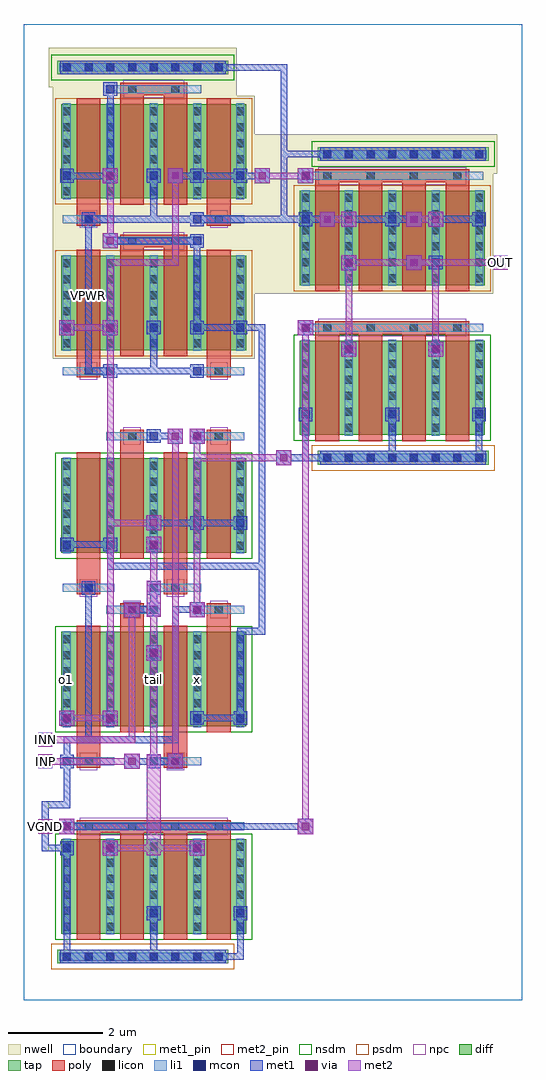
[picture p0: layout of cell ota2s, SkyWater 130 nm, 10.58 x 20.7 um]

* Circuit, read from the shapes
.subckt ota2s INN INP OUT VBN VGND VPWR o1 tail x
XM1 tail VBN VGND VGND sky130_fd_pr__nfet_01v8 w=2 l=0.5 m=4
XM2 o1 VGND o1 VGND sky130_fd_pr__nfet_01v8 w=2 l=0.5 m=2
XM3 x VGND x VGND sky130_fd_pr__nfet_01v8 w=2 l=0.5 m=2
XM4 tail INN o1 VGND sky130_fd_pr__nfet_01v8 w=2 l=0.5 m=2
XM5 tail INP x VGND sky130_fd_pr__nfet_01v8 w=2 l=0.5 m=2
XM6 OUT VBN VGND VGND sky130_fd_pr__nfet_01v8 w=2 l=0.5 m=4
XM7 o1 VPWR o1 VPWR sky130_fd_pr__pfet_01v8 w=2 l=0.5 m=2
XM8 x VPWR x VPWR sky130_fd_pr__pfet_01v8 w=2 l=0.5 m=2
XM9 VPWR x o1 VPWR sky130_fd_pr__pfet_01v8 w=2 l=0.5 m=2
XM10 VPWR x x VPWR sky130_fd_pr__pfet_01v8 w=2 l=0.5 m=2
XM11 OUT o1 VPWR VPWR sky130_fd_pr__pfet_01v8 w=2 l=0.5 m=4
.ends

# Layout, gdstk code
import gdstk
lib = gdstk.Library(unit=1e-6, precision=1e-09)
def R(c, l, rs):  # rectangles x0, y0, x1, y1
    for r in rs: c.add(gdstk.rectangle(r[:2], r[2:], *l))
def A(c, l, x, y, w, h, nx, ny, dx, dy):  # array of equal rectangles
    R(c, l, [(x+i*dx, y+j*dy, x+i*dx+w, y+j*dy+h) for i in range(nx) for j in range(ny)])
nwell = (64, 20)
diff = (65, 20)
tap = (65, 44)
poly = (66, 20)
licon = (66, 44)
li1 = (67, 20)
mcon = (67, 44)
met1_pin = (68, 16)
met1 = (68, 20)
via = (68, 44)
met2_pin = (69, 16)
met2 = (69, 20)
nsdm = (93, 44)
psdm = (94, 20)
npc = (95, 20)
boundary = (235, 4)

ota2s = lib.new_cell('ota2s')
R(ota2s, nwell, [(0.615,13.6,4.905,14.98), (0.615,14.98,9.965,17.52), (0.615,17.52,10.045,18.36), (0.615,18.36,4.905,19.18), (0.615,19.18,4.525,19.36), (0.535,19.36,4.525,20.2)])
R(ota2s, diff, [(0.795,1.405,4.725,3.405), (0.795,5.805,4.725,7.805), (0.795,9.485,4.725,11.485), (5.855,11.985,9.785,13.985), (0.795,13.78,4.725,15.78), (5.855,15.16,9.785,17.16), (0.795,17,4.725,19)])
R(ota2s, tap, [(0.715,0.775,4.345,1.065), (6.235,11.355,9.865,11.645), (6.235,17.795,9.865,18.085), (0.715,19.635,4.345,19.925)])
A(ota2s, poly, 1.13, 1.275, 0.5, 2.405, 4, 1, 0.92, 0)
A(ota2s, poly, 6.19, 11.855, 0.5, 2.405, 4, 1, 0.92, 0)
A(ota2s, poly, 6.19, 15.03, 0.5, 2.45, 4, 1, 0.92, 0)
R(ota2s, poly, [(1.13,3.545,4.39,3.815), (1.13,4.925,1.63,5.195), (2.97,4.925,3.47,5.195), (1.13,5.06,1.63,7.935), (2.97,5.06,3.47,7.935), (2.05,5.675,2.55,8.28), (3.89,5.675,4.39,8.28), (2.05,8.145,2.55,8.415), (3.89,8.145,4.39,8.415), (1.13,8.605,1.63,8.875), (2.97,8.605,3.47,8.875), (1.13,8.74,1.63,11.615), (2.97,8.74,3.47,11.615), (2.05,9.355,2.55,11.96), (3.89,9.355,4.39,11.96), (2.05,11.825,2.55,12.095), (3.89,11.825,4.39,12.095), (1.13,13.205,1.63,13.475), (3.89,13.205,4.39,13.475), (1.13,13.34,1.63,15.91), (3.89,13.34,4.39,15.91), (2.05,13.65,2.55,16.1), (2.97,13.65,3.47,16.1), (6.19,14.125,9.45,14.395), (2.05,15.965,3.47,16.235), (1.13,16.425,1.63,16.695), (3.89,16.425,4.39,16.695), (1.13,16.56,1.63,19.13), (3.89,16.56,4.39,19.13), (2.05,16.87,2.55,19.32), (2.97,16.87,3.47,19.32), (6.19,17.345,9.45,17.615), (2.05,19.185,3.47,19.455)])
A(ota2s, licon, 0.835, 0.835, 0.17, 0.17, 8, 2, 0.46, 18.86)
A(ota2s, licon, 0.835, 1.47, 0.17, 0.17, 5, 6, 0.92, 0.34)
A(ota2s, licon, 1.295, 3.595, 0.17, 0.17, 4, 1, 0.92, 0)
A(ota2s, licon, 0.835, 5.87, 0.17, 0.17, 5, 6, 0.92, 0.34)
A(ota2s, licon, 0.835, 9.55, 0.17, 0.17, 5, 6, 0.92, 0.34)
A(ota2s, licon, 6.355, 11.415, 0.17, 0.17, 8, 2, 0.46, 6.44)
A(ota2s, licon, 5.895, 12.05, 0.17, 0.17, 5, 6, 0.92, 0.34)
A(ota2s, licon, 0.835, 13.845, 0.17, 0.17, 5, 6, 0.92, 0.34)
A(ota2s, licon, 6.355, 14.175, 0.17, 0.17, 4, 2, 0.92, 3.22)
A(ota2s, licon, 5.895, 15.225, 0.17, 0.17, 5, 6, 0.92, 0.34)
A(ota2s, licon, 0.835, 17.065, 0.17, 0.17, 5, 6, 0.92, 0.34)
R(ota2s, licon, [(1.295,4.975,1.465,5.145), (3.135,4.975,3.305,5.145), (2.215,8.195,2.385,8.365), (4.055,8.195,4.225,8.365), (1.295,8.655,1.465,8.825), (3.135,8.655,3.305,8.825), (2.215,11.875,2.385,12.045), (4.055,11.875,4.225,12.045), (1.295,13.255,1.465,13.425), (4.055,13.255,4.225,13.425), (2.215,16.015,2.385,16.185), (3.135,16.015,3.305,16.185), (1.295,16.475,1.465,16.645), (4.055,16.475,4.225,16.645), (2.215,19.235,2.385,19.405), (3.135,19.235,3.305,19.405)])
A(ota2s, li1, 0.835, 1.39, 0.17, 2.03, 5, 2, 0.92, 4.4)
A(ota2s, li1, 0.835, 9.47, 0.17, 2.03, 5, 2, 0.92, 4.295)
A(ota2s, li1, 5.895, 11.97, 0.17, 2.03, 5, 2, 0.92, 3.175)
A(ota2s, li1, 0.835, 16.985, 0.17, 2.03, 5, 1, 0.92, 0)
R(ota2s, li1, [(0.755,0.835,4.305,1.005), (0.835,3.595,4.685,3.765), (0.835,4.975,1.925,5.145), (2.675,4.975,3.765,5.145), (1.755,8.195,2.845,8.365), (3.595,8.195,4.685,8.365), (0.835,8.655,1.925,8.825), (2.675,8.655,3.765,8.825), (6.275,11.415,9.825,11.585), (1.755,11.875,2.845,12.045), (3.595,11.875,4.685,12.045), (0.835,13.255,1.925,13.425), (3.595,13.255,4.685,13.425), (5.895,14.175,9.745,14.345), (1.755,16.015,3.765,16.185), (0.835,16.475,1.925,16.645), (3.595,16.475,4.685,16.645), (5.895,17.395,9.745,17.565), (6.275,17.855,9.825,18.025), (1.755,19.235,3.765,19.405), (0.755,19.695,4.305,19.865)])
A(ota2s, mcon, 0.835, 0.835, 0.17, 0.17, 8, 2, 0.46, 18.86)
A(ota2s, mcon, 4.515, 1.755, 0.17, 0.17, 1, 3, 0, 4.14)
A(ota2s, mcon, 3.595, 8.195, 0.17, 0.17, 1, 3, 0, 1.84)
A(ota2s, mcon, 0.835, 9.575, 0.17, 0.17, 3, 1, 0.92, 0)
A(ota2s, mcon, 6.355, 11.415, 0.17, 0.17, 8, 2, 0.46, 6.44)
A(ota2s, mcon, 5.895, 12.335, 0.17, 0.17, 3, 1, 1.84, 0)
A(ota2s, mcon, 0.835, 14.175, 0.17, 0.17, 5, 2, 0.92, 3.22)
A(ota2s, mcon, 1.295, 16.475, 0.17, 0.17, 3, 1, 2.3, 0)
R(ota2s, mcon, [(2.675,1.755,2.845,1.925), (0.835,3.135,1.005,3.305), (1.755,3.135,1.925,3.305), (3.595,3.135,3.765,3.305), (0.835,3.595,1.005,3.765), (0.835,4.975,1.005,5.145), (2.675,4.975,2.845,5.145), (0.835,5.895,1.005,6.065), (1.755,5.895,1.925,6.065), (3.595,5.895,3.765,6.065), (2.675,7.275,2.845,7.445), (2.675,8.195,2.845,8.365), (1.295,8.655,1.465,8.825), (2.675,8.655,2.845,8.825), (2.675,11.875,2.845,12.045), (1.755,13.255,1.925,13.425), (3.595,13.255,3.765,13.425), (6.815,13.715,6.985,13.885), (8.655,13.715,8.825,13.885), (5.895,14.175,6.065,14.345), (6.815,15.555,6.985,15.725), (8.655,15.555,8.825,15.725), (3.595,16.015,3.765,16.185), (7.735,16.475,7.905,16.645), (9.575,16.475,9.745,16.645), (5.895,17.395,6.065,17.565), (1.755,19.235,1.925,19.405)])
R(ota2s, met1_pin, [(0.39,3.15,0.53,4.21), (1.31,13.27,1.45,16.63)])
A(ota2s, met1, 4.455, 1.695, 0.29, 0.29, 1, 3, 0, 4.14)
A(ota2s, met1, 3.61, 5.91, 1.06, 0.14, 1, 3, 0, 4.14)
A(ota2s, met1, 3.535, 8.135, 0.29, 0.29, 1, 3, 0, 1.84)
A(ota2s, met1, 0.775, 9.515, 0.29, 0.29, 3, 1, 0.92, 0)
A(ota2s, met1, 5.91, 11.43, 0.14, 1.06, 3, 1, 1.84, 0)
A(ota2s, met1, 5.835, 12.275, 0.29, 0.29, 3, 1, 1.84, 0)
A(ota2s, met1, 0.775, 14.115, 0.29, 0.29, 5, 2, 0.92, 3.22)
A(ota2s, met1, 1.235, 16.415, 0.29, 0.29, 3, 1, 2.3, 0)
R(ota2s, met1, [(0.775,0.775,4.285,1.065), (0.85,0.85,0.99,0.99), (0.85,0.85,2.83,0.99), (0.85,0.85,0.99,3.29), (2.69,0.85,2.83,1.91), (2.69,0.85,4.67,0.99), (4.53,0.85,4.67,1.91), (2.615,1.695,2.905,1.985), (1.68,3.06,2,3.38), (3.52,3.06,3.84,3.38), (0.775,3.075,1.065,3.365), (1.695,3.075,1.985,3.365), (3.535,3.075,3.825,3.365), (0.39,3.15,0.99,3.29), (0.39,3.15,0.53,4.21), (0.76,3.52,1.08,3.84), (5.82,3.52,6.14,3.84), (0.775,3.535,1.065,3.825), (0.85,3.61,6.05,3.75), (0.39,4.07,0.99,4.21), (0.85,4.07,0.99,5.13), (2.14,4.9,2.46,5.22), (3.06,4.9,3.38,5.22), (0.775,4.915,1.065,5.205), (2.615,4.915,2.905,5.205), (0.85,4.99,0.99,5.59), (2.23,4.99,2.83,5.13), (2.69,4.99,3.29,5.13), (0.85,5.45,1.45,5.59), (1.31,5.45,3.29,5.59), (1.31,5.45,1.45,8.81), (3.15,5.45,3.29,8.35), (0.76,5.82,1.08,6.14), (1.68,5.82,2,6.14), (0.775,5.835,1.065,6.125), (1.695,5.835,1.985,6.125), (3.535,5.835,3.825,6.125), (4.53,5.91,4.67,7.89), (2.6,7.2,2.92,7.52), (2.615,7.215,2.905,7.505), (4.53,7.75,5.13,7.89), (4.99,7.75,5.13,9.27), (2.14,8.12,2.46,8.44), (3.52,8.12,3.84,8.44), (2.615,8.135,2.905,8.425), (2.23,8.21,2.83,8.35), (2.69,8.21,2.83,8.81), (3.15,8.21,3.75,8.35), (1.235,8.595,1.525,8.885), (2.615,8.595,2.905,8.885), (1.77,9.13,5.13,9.27), (1.77,9.13,1.91,9.73), (4.99,9.13,5.13,14.33), (2.6,9.5,2.92,9.82), (0.85,9.59,1.91,9.73), (2.6,9.96,2.92,10.28), (2.69,10.05,3.75,10.19), (5.36,11.34,5.68,11.66), (6.295,11.355,9.805,11.645), (5.45,11.43,6.51,11.57), (6.37,11.43,7.89,11.57), (6.37,11.43,6.51,11.57), (7.75,11.43,9.73,11.57), (3.06,11.8,3.38,12.12), (3.52,11.8,3.84,12.12), (2.615,11.815,2.905,12.105), (2.69,11.89,3.29,12.03), (1.695,13.195,1.985,13.485), (3.535,13.195,3.825,13.485), (1.31,13.27,1.91,13.41), (1.31,13.27,1.45,16.63), (1.77,13.27,3.75,13.41), (2.69,13.27,2.83,14.33), (6.74,13.64,7.06,13.96), (8.58,13.64,8.9,13.96), (6.755,13.655,7.045,13.945), (8.595,13.655,8.885,13.945), (0.76,14.1,1.08,14.42), (1.68,14.1,2,14.42), (5.82,14.1,6.14,14.42), (5.835,14.115,6.125,14.405), (3.61,14.19,3.75,16.17), (4.53,14.19,5.13,14.33), (6.74,15.48,7.06,15.8), (8.12,15.48,8.44,15.8), (6.755,15.495,7.045,15.785), (8.595,15.495,8.885,15.785), (8.21,15.57,8.81,15.71), (1.68,15.94,2,16.26), (3.535,15.955,3.825,16.245), (1.77,16.03,3.75,16.17), (6.28,16.4,6.6,16.72), (6.74,16.4,7.06,16.72), (8.12,16.4,8.44,16.72), (8.58,16.4,8.9,16.72), (7.675,16.415,7.965,16.705), (9.515,16.415,9.805,16.705), (1.31,16.49,3.75,16.63), (2.69,16.49,2.83,17.55), (3.61,16.49,6.05,16.63), (5.45,16.49,5.59,18.01), (5.91,16.49,6.51,16.63), (6.83,16.49,7.89,16.63), (7.75,16.49,8.35,16.63), (8.67,16.49,9.73,16.63), (1.68,17.32,2,17.64), (3.06,17.32,3.38,17.64), (4.9,17.32,5.22,17.64), (5.82,17.32,6.14,17.64), (5.835,17.335,6.125,17.625), (0.85,17.41,1.91,17.55), (1.77,17.41,1.91,19.39), (3.15,17.41,3.75,17.55), (3.61,17.41,4.67,17.55), (4.53,17.41,5.13,17.55), (6.295,17.795,9.805,18.085), (5.45,17.87,6.51,18.01), (5.45,17.87,5.59,19.85), (6.37,17.87,6.51,18.01), (1.695,19.175,1.985,19.465), (0.775,19.635,4.285,19.925), (4.07,19.71,5.59,19.85), (4.07,19.71,4.21,19.85)])
R(ota2s, via, [(1.765,3.145,1.915,3.295), (3.605,3.145,3.755,3.295), (0.845,3.605,0.995,3.755), (5.905,3.605,6.055,3.755), (2.225,4.985,2.375,5.135), (3.145,4.985,3.295,5.135), (0.845,5.905,0.995,6.055), (1.765,5.905,1.915,6.055), (2.685,7.285,2.835,7.435), (2.225,8.205,2.375,8.355), (3.605,8.205,3.755,8.355), (2.685,9.585,2.835,9.735), (2.685,10.045,2.835,10.195), (5.445,11.425,5.595,11.575), (3.145,11.885,3.295,12.035), (3.605,11.885,3.755,12.035), (6.825,13.725,6.975,13.875), (8.665,13.725,8.815,13.875), (0.845,14.185,0.995,14.335), (1.765,14.185,1.915,14.335), (5.905,14.185,6.055,14.335), (6.825,15.565,6.975,15.715), (8.205,15.565,8.355,15.715), (1.765,16.025,1.915,16.175), (6.365,16.485,6.515,16.635), (6.825,16.485,6.975,16.635), (8.205,16.485,8.355,16.635), (8.665,16.485,8.815,16.635), (1.765,17.405,1.915,17.555), (3.145,17.405,3.295,17.555), (4.985,17.405,5.135,17.555), (5.905,17.405,6.055,17.555)])
R(ota2s, met2_pin, [(0.31,3.53,0.61,3.83), (0.31,4.91,0.61,5.21), (0.31,5.37,0.61,5.67), (9.97,15.49,10.27,15.79)])
R(ota2s, met2, [(1.68,3.06,2,3.38), (3.52,3.06,3.84,3.38), (2.61,3.07,2.91,5.21), (1.77,3.15,2.83,3.29), (2.69,3.15,3.75,3.29), (0.76,3.52,1.08,3.84), (5.82,3.52,6.14,3.84), (0.31,3.53,0.61,3.83), (0.39,3.61,0.53,3.75), (0.39,3.61,0.99,3.75), (5.91,3.61,6.05,14.33), (2.14,4.9,2.46,5.22), (3.06,4.9,3.38,5.22), (0.31,4.91,0.61,5.21), (0.39,4.99,0.53,5.13), (0.39,4.99,2.37,5.13), (2.69,4.99,2.83,7.43), (3.15,4.99,3.29,12.03), (0.31,5.37,0.61,5.67), (0.39,5.45,0.53,5.59), (0.39,5.45,2.37,5.59), (2.23,5.45,2.37,8.35), (0.76,5.82,1.08,6.14), (1.68,5.82,2,6.14), (0.85,5.91,1.91,6.05), (1.77,5.91,1.91,10.19), (2.6,7.2,2.92,7.52), (2.69,7.29,2.83,8.35), (2.14,8.12,2.46,8.44), (3.52,8.12,3.84,8.44), (2.61,8.13,2.91,8.89), (3.61,8.21,3.75,12.03), (2.69,8.67,2.83,9.73), (2.6,9.5,2.92,9.82), (2.6,9.96,2.92,10.28), (1.77,10.05,2.83,10.19), (1.77,10.05,1.91,14.33), (5.36,11.34,5.68,11.66), (3.61,11.43,5.59,11.57), (3.06,11.8,3.38,12.12), (3.52,11.8,3.84,12.12), (6.74,13.64,7.06,13.96), (8.58,13.64,8.9,13.96), (6.83,13.73,6.97,15.71), (8.67,13.73,8.81,15.71), (0.76,14.1,1.08,14.42), (1.68,14.1,2,14.42), (5.82,14.1,6.14,14.42), (0.85,14.19,1.91,14.33), (1.77,14.19,1.91,15.71), (6.74,15.48,7.06,15.8), (8.12,15.48,8.44,15.8), (9.97,15.49,10.27,15.79), (1.77,15.57,3.29,15.71), (3.15,15.57,3.29,17.55), (6.83,15.57,8.35,15.71), (8.21,15.57,10.19,15.71), (10.05,15.57,10.19,15.71), (1.68,15.94,2,16.26), (1.77,16.03,1.91,17.55), (6.28,16.4,6.6,16.72), (6.74,16.4,7.06,16.72), (8.12,16.4,8.44,16.72), (8.58,16.4,8.9,16.72), (6.37,16.49,6.97,16.63), (8.21,16.49,8.81,16.63), (1.68,17.32,2,17.64), (3.06,17.32,3.38,17.64), (4.9,17.32,5.22,17.64), (5.82,17.32,6.14,17.64), (4.99,17.41,6.05,17.55)])
R(ota2s, nsdm, [(0.67,1.28,4.85,3.53), (0.67,5.68,4.85,7.93), (0.67,9.36,4.85,11.61), (5.73,11.86,9.91,14.11), (6.11,17.67,9.99,18.21), (0.59,19.51,4.47,20.05)])
R(ota2s, psdm, [(0.59,0.65,4.47,1.19), (6.11,11.23,9.99,11.77), (0.67,13.655,4.85,15.905), (5.73,15.035,9.91,17.285), (0.67,16.875,4.85,19.125)])
R(ota2s, npc, [(1.195,3.495,4.325,3.865), (1.195,4.875,1.565,5.245), (3.035,4.875,3.405,5.245), (2.115,8.095,2.485,8.465), (3.955,8.095,4.325,8.465), (1.195,8.555,1.565,8.925), (3.035,8.555,3.405,8.925), (2.115,11.775,2.485,12.145), (3.955,11.775,4.325,12.145), (1.195,13.155,1.565,13.525), (3.955,13.155,4.325,13.525), (6.255,14.075,9.385,14.445), (2.115,15.915,3.405,16.285), (1.195,16.375,1.565,16.745), (3.955,16.375,4.325,16.745), (6.255,17.295,9.385,17.665), (2.115,19.135,3.405,19.505)])
R(ota2s, boundary, [(0,0,10.58,20.7)])
ota2s.add(gdstk.Label('o1', (0.92,6.805), layer=67, texttype=5))
ota2s.add(gdstk.Label('tail', (2.76,6.805), layer=67, texttype=5))
ota2s.add(gdstk.Label('x', (3.68,6.805), layer=67, texttype=5))
ota2s.add(gdstk.Label('VPWR', (1.38,14.95), layer=68, texttype=5))
ota2s.add(gdstk.Label('VGND', (0.46,3.68), layer=68, texttype=5))
ota2s.add(gdstk.Label('INP', (0.46,5.06), layer=69, texttype=5))
ota2s.add(gdstk.Label('INN', (0.46,5.52), layer=69, texttype=5))
ota2s.add(gdstk.Label('VBN', (0.46,3.68), layer=69, texttype=5))
ota2s.add(gdstk.Label('OUT', (10.12,15.64), layer=69, texttype=5))
ota2s.add(gdstk.Label('VPWR', (1.38,14.95), layer=68, texttype=16))
ota2s.add(gdstk.Label('VGND', (0.46,3.68), layer=68, texttype=16))
ota2s.add(gdstk.Label('INP', (0.46,5.06), layer=69, texttype=16))
ota2s.add(gdstk.Label('INN', (0.46,5.52), layer=69, texttype=16))
ota2s.add(gdstk.Label('VBN', (0.46,3.68), layer=69, texttype=16))
ota2s.add(gdstk.Label('OUT', (10.12,15.64), layer=69, texttype=16))

lib.write_gds('ota2s.gds')
